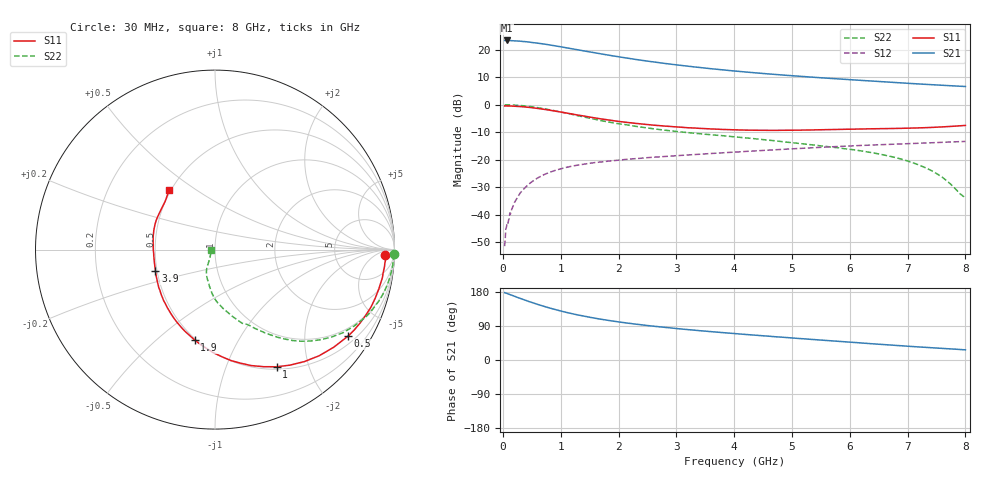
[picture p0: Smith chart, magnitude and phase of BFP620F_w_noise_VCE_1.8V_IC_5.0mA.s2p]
! Infineon Technologies  Discrete & RF Semiconductors
! BFP620F
! VCE =  1.8 V,  IC =  5.0 mA
! Common Emitter S-Parameters:  Dec 2014
# GHz  S  MA  R  50
!  f  S11  S21  S12  S22
! GHz  MAG  ANG  MAG  ANG  MAG  ANG  MAG  ANG
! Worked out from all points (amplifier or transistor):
!   95 points, 30 MHz to 8 GHz, reference 50 ohm
!   highest |S21| = 23.3 dB at 70 MHz (marker M1)
!   |S21| within 3 dB of that: start of sweep to 1.19 GHz
!   unconditionally stable (mu >= 1): 5.167 GHz to end of sweep
!   at 300 MHz: K = 0.07, MSG = 27.6 dB, |S12| = -32.0 dB
!   at 3.3 GHz: K = 0.83, MSG = 15.9 dB, |S12| = -18.1 dB
!   at 8 GHz: K = 1.12, MAG = 7.8 dB, |S12| = -13.3 dB
!   lowest NFmin = 0.52 dB at 450 MHz
!   S11 on the Smith chart (normalised r, x): 30 MHz: 28, -18; 500 MHz: 0.73, -3.21; 1 GHz: 0.53, -1.52; 1.9 GHz: 0.49, -0.67; 3.9 GHz: 0.49, -0.14; 8 GHz: 0.49, +0.39
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0.03  0.9501 -1.9  14.68 177.8  0.0027 82.3  0.9961 -1.5
0.05  0.9519 -3.4  14.67 176.8  0.0055 89.1  0.9972 -2.6
0.07  0.9493 -4.7  14.69 175.7  0.0066 86.7  0.9953 -3.5
0.3  0.9264 -20.2  14.26 162.6  0.025 80.1  0.9682 -14.9
0.4  0.9061 -26.8  13.94 157.1  0.0323 75.8  0.9443 -19.7
0.5  0.884 -33.1  13.51 151.9  0.0398 72.4  0.9185 -24.3
0.7  0.8288 -45.5  12.7 142.1  0.0531 65.8  0.851 -32.9
0.8  0.7984 -51.4  12.23 137.6  0.0588 63.0  0.8135 -36.7
1  0.7374 -62.3  11.27 129.4  0.0686 58.0  0.7384 -43.6
1.2  0.6772 -72.6  10.36 122.1  0.0768 54.0  0.6663 -49.5
1.4  0.6241 -81.9  9.493 115.9  0.0832 50.6  0.5996 -54.5
1.7  0.5523 -95.0  8.373 107.5  0.0913 47.0  0.5139 -61.1
1.9  0.5155 -102.8  7.721 102.8  0.0963 45.0  0.4701 -65.0
2.3  0.4582 -117.2  6.64 94.6  0.105 42.1  0.4045 -73.0
2.7  0.418 -129.6  5.808 87.7  0.1129 40.0  0.3552 -78.7
3.2  0.3819 -143.4  5.011 80.2  0.1224 38.1  0.3118 -84.8
3.9  0.3532 -159.9  4.199 71.1  0.1359 35.9  0.2676 -91.1
4.1  0.348 -164.3  4.015 68.6  0.1396 35.2  0.2559 -92.4
5.4  0.3494 170.5  3.14 53.7  0.1663 30.4  0.1843 -102.0
6.7  0.3694 148.2  2.565 39.6  0.1908 24.3  0.1155 -113.4
7.4  0.3863 136.1  2.317 32.5  0.2034 21.4  0.0646 -119.4
8  0.421 127.7  2.141 26.8  0.2156 18.4  0.0203 -179.9
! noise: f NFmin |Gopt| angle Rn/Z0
0.45  0.52  0.46  9  0.28
0.9  0.59  0.43  20  0.24
1.5  0.66  0.38  26  0.22
1.8  0.7  0.36  30  0.21
1.9  0.71  0.31  42  0.23
2.4  0.77  0.28  56  0.21
3.5  0.9  0.27  77  0.16
5.5  1.12  0.18  155  0.13
6  1.17  0.14  173  0.25
